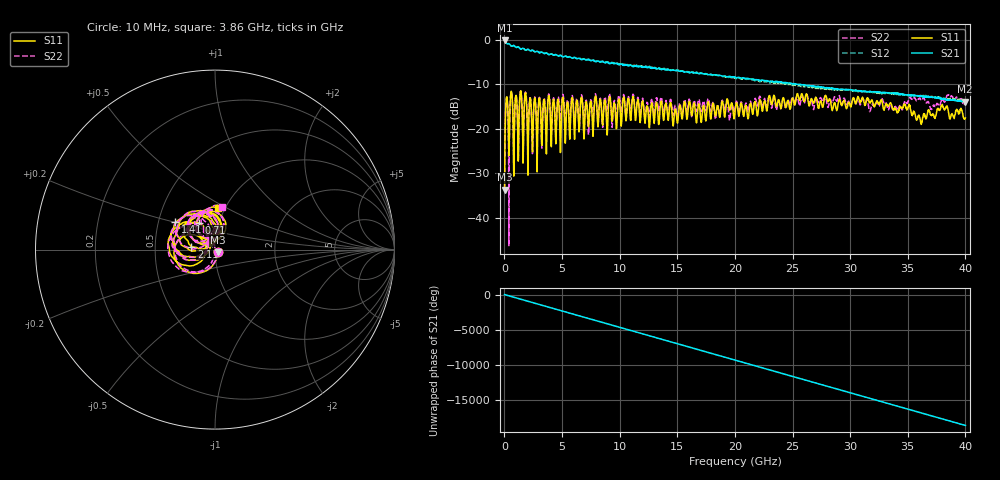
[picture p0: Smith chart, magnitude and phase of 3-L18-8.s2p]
! 2/21/2025 7:23:41 AM
! Z:\OQC\AD5\613\LOT-141-0825\SINGLE\3-L18-8.S2P
! CHANNEL.1
! TR.MEASUREMENT
! CORRECTED.DATA
! RF.CORRECTION: FULL.FOUR.PORT.CAL.PORT.1.2.3.4
! AVERAGING.OFF
! IF.BANDWIDTH: 1KHZ
! SWEEPTYPE:  FREQ.SWEEP(Linear)
! Reference Plane Port Info
! PORT:  PORT1  PORT2
! DISTANCE:  0  m  0  m
! TIME:  0  s  0  s
! PHASE.OFFSET:  0 °  0 °
! LOSS:  0  dB  0  dB
! REF.LOSS:  0  dB  0  dB
! REF.FREQ:  0  Hz  0  Hz
! Power Info
! POWER:  -10  dBm  -10  dBm
! EFF.POWER:  -10  dBm  -10  dBm
! SOURCE.ATTEN:  0  dB  0  dB
! TEST.ATTEN:  0  dB  0  dB
# GHZ S RI R 50.0
! FREQ.GHZ  S11RE  S11IM  S21RE  S21IM  S12RE  S12IM  S22RE  S22IM
!; PortSelection: Port_12
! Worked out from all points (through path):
!   4000 points, 10 MHz to 40 GHz, reference 50 ohm
!   highest |S21| = -0.14 dB at 10 MHz (marker M1); lowest = -13.9 dB at 39.93 GHz (marker M2)
!   group delay of S21, straight-line fit = 1.29 ns
!   lowest |S11| = -33.6 dB at 10 MHz (marker M3), VSWR 1.04, Z = 51.5 - j1.54 ohm
!   |S11| at or under -10 dB: start of sweep to end of sweep
!   |S22| runs from -46.3 to -11.5 dB; largest |S21 - S12| = 0.021
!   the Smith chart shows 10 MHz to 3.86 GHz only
!   S11 on the Smith chart (normalised r, x): 10 MHz: 1.03, -0.03; 710 MHz: 0.80, +0.25; 1.41 GHz: 0.61, +0.20; 2.11 GHz: 0.77, +0.03; 3.86 GHz: 0.93, +0.45
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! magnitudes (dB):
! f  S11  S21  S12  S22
! 10 MHz  -33.6  -0.1  -0.2  -33.6
! 140 MHz  -13.6  -0.6  -0.6  -13.8
! 250 MHz  -13.7  -0.9  -0.9  -14.0
! 710 MHz  -15.3  -1.4  -1.3  -15.2
! 1.41 GHz  -11.4  -2.0  -2.1  -11.6
! 2.11 GHz  -17.5  -2.2  -2.3  -16.7
! 3.86 GHz  -12.7  -3.3  -3.3  -12.3
! 6.68 GHz  -12.9  -4.5  -4.3  -12.4
! 7.17 GHz  -15.0  -4.5  -4.4  -15.1
! 7.85 GHz  -13.2  -4.9  -4.7  -12.6
! 9.49 GHz  -14.3  -5.4  -5.2  -13.9
! 13.34 GHz  -17.8  -6.5  -6.4  -15.4
! 14.86 GHz  -15.7  -6.9  -6.9  -15.0
! 16.14 GHz  -14.8  -7.3  -7.3  -14.8
! 20.01 GHz  -16.0  -8.4  -8.6  -15.2
! 26.67 GHz  -13.4  -10.3  -10.7  -13.8
! 33.34 GHz  -14.8  -11.9  -12.0  -15.6
! 36.11 GHz  -18.4  -12.7  -12.6  -13.4
! 37.09 GHz  -16.9  -12.9  -12.8  -15.5
! 37.99 GHz  -14.6  -13.2  -13.3  -13.2
! 39.93 GHz  -17.7  -13.9  -13.4  -14.3
! 40 GHz  -17.5  -13.8  -13.5  -13.7
